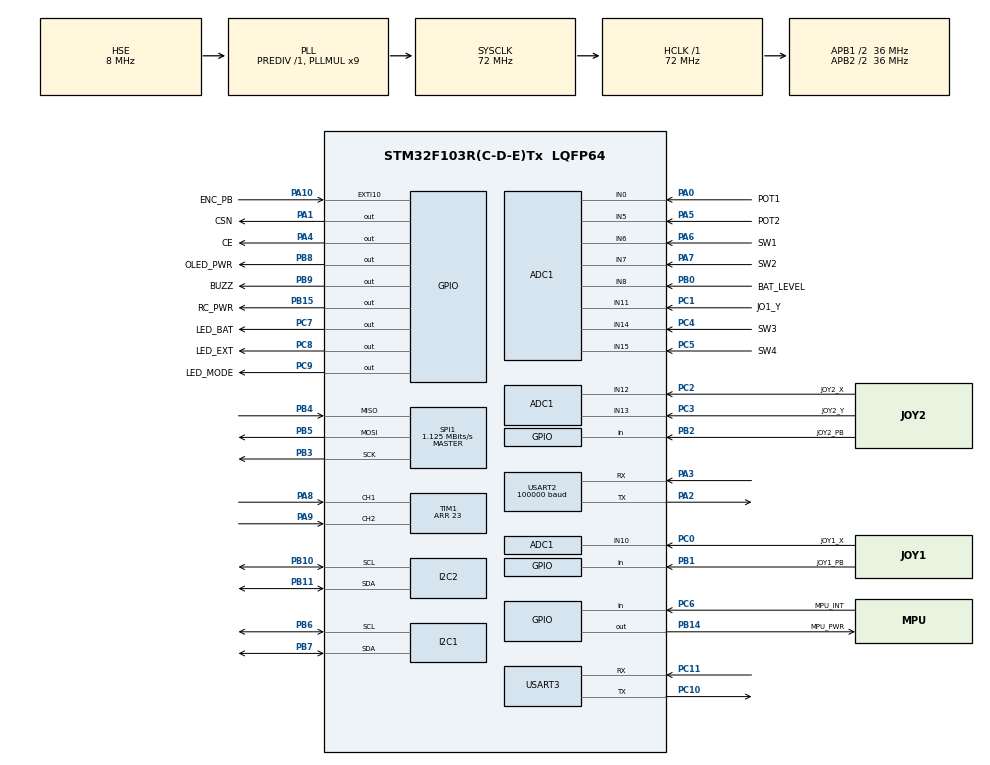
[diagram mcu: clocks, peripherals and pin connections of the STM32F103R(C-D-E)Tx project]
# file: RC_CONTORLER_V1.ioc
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ADC1.Channel-10\#ChannelRegularConversion=ADC_CHANNEL_13
ADC1.Channel-11\#ChannelRegularConversion=ADC_CHANNEL_14
ADC1.Channel-12\#ChannelRegularConversion=ADC_CHANNEL_15
ADC1.Channel-2\#ChannelRegularConversion=ADC_CHANNEL_0
ADC1.Channel-3\#ChannelRegularConversion=ADC_CHANNEL_5
ADC1.Channel-4\#ChannelRegularConversion=ADC_CHANNEL_6
ADC1.Channel-5\#ChannelRegularConversion=ADC_CHANNEL_7
ADC1.Channel-6\#ChannelRegularConversion=ADC_CHANNEL_8
ADC1.Channel-7\#ChannelRegularConversion=ADC_CHANNEL_10
ADC1.Channel-8\#ChannelRegularConversion=ADC_CHANNEL_11
ADC1.Channel-9\#ChannelRegularConversion=ADC_CHANNEL_12
ADC1.ContinuousConvMode=ENABLE
ADC1.NbrOfConversion=11
ADC1.NbrOfConversionFlag=1
ADC1.Rank-10\#ChannelRegularConversion=9
ADC1.Rank-11\#ChannelRegularConversion=10
ADC1.Rank-12\#ChannelRegularConversion=11
ADC1.Rank-2\#ChannelRegularConversion=1
ADC1.Rank-3\#ChannelRegularConversion=2
ADC1.Rank-4\#ChannelRegularConversion=3
ADC1.Rank-5\#ChannelRegularConversion=4
ADC1.Rank-6\#ChannelRegularConversion=5
ADC1.Rank-7\#ChannelRegularConversion=6
ADC1.Rank-8\#ChannelRegularConversion=7
ADC1.Rank-9\#ChannelRegularConversion=8
ADC1.SamplingTime-10\#ChannelRegularConversion=ADC_SAMPLETIME_239CYCLES_5
ADC1.SamplingTime-11\#ChannelRegularConversion=ADC_SAMPLETIME_239CYCLES_5
ADC1.SamplingTime-12\#ChannelRegularConversion=ADC_SAMPLETIME_239CYCLES_5
ADC1.SamplingTime-2\#ChannelRegularConversion=ADC_SAMPLETIME_239CYCLES_5
ADC1.SamplingTime-3\#ChannelRegularConversion=ADC_SAMPLETIME_239CYCLES_5
ADC1.SamplingTime-4\#ChannelRegularConversion=ADC_SAMPLETIME_239CYCLES_5
ADC1.SamplingTime-5\#ChannelRegularConversion=ADC_SAMPLETIME_239CYCLES_5
ADC1.SamplingTime-6\#ChannelRegularConversion=ADC_SAMPLETIME_239CYCLES_5
ADC1.SamplingTime-7\#ChannelRegularConversion=ADC_SAMPLETIME_239CYCLES_5
ADC1.SamplingTime-8\#ChannelRegularConversion=ADC_SAMPLETIME_239CYCLES_5
ADC1.SamplingTime-9\#ChannelRegularConversion=ADC_SAMPLETIME_239CYCLES_5
ADC1.master=1
Dma.ADC1.0.Direction=DMA_PERIPH_TO_MEMORY
Dma.ADC1.0.Instance=DMA1_Channel1
Dma.ADC1.0.MemDataAlignment=DMA_MDATAALIGN_HALFWORD
Dma.ADC1.0.MemInc=DMA_MINC_ENABLE
Dma.ADC1.0.Mode=DMA_CIRCULAR
Dma.ADC1.0.PeriphDataAlignment=DMA_PDATAALIGN_HALFWORD
Dma.ADC1.0.PeriphInc=DMA_PINC_DISABLE
Dma.ADC1.0.Priority=DMA_PRIORITY_LOW
Dma.Request0=ADC1
I2C1.I2C_Mode=I2C_Fast
I2C2.I2C_Mode=I2C_Fast
Mcu.Family=STM32F1
Mcu.Name=STM32F103R(C-D-E)Tx
Mcu.Package=LQFP64
NVIC.DMA1_Channel1_IRQn=true\:0\:0\:false\:false\:true\:false\:true
NVIC.EXTI15_10_IRQn=true\:0\:0\:false\:false\:true\:true\:true
NVIC.PriorityGroup=NVIC_PRIORITYGROUP_4
NVIC.TIM6_IRQn=true\:0\:0\:false\:false\:true\:true\:true
PA0-WKUP.GPIO_Label=POT1
PA0-WKUP.Signal=ADCx_IN0
PA1.GPIO_Label=CSN
PA1.Signal=GPIO_Output
PA10.GPIO_Label=ENC_PB
PA10.Signal=GPXTI10
PA13.Mode=Serial_Wire
PA13.Signal=SYS_JTMS-SWDIO
PA14.Mode=Serial_Wire
PA14.Signal=SYS_JTCK-SWCLK
PA2.Mode=Asynchronous
PA2.Signal=USART2_TX
PA3.Mode=Asynchronous
PA3.Signal=USART2_RX
PA4.GPIO_Label=CE
PA4.Signal=GPIO_Output
PA5.GPIO_Label=POT2
PA5.Signal=ADCx_IN5
PA6.GPIO_Label=SW1
PA6.Signal=ADCx_IN6
PA7.GPIO_Label=SW2
PA7.Signal=ADCx_IN7
PA8.GPIO_PuPd=GPIO_PULLUP
PA8.Signal=S_TIM1_CH1
PA9.GPIO_PuPd=GPIO_PULLUP
PA9.Signal=S_TIM1_CH2
PB0.GPIO_Label=BAT_LEVEL
PB0.Signal=ADCx_IN8
PB1.GPIO_Label=JOY1_PB
PB1.Signal=GPIO_Input
PB10.Mode=I2C
PB10.Signal=I2C2_SCL
PB11.Mode=I2C
PB11.Signal=I2C2_SDA
PB14.GPIO_Label=MPU_PWR
PB14.Signal=GPIO_Output
PB15.GPIO_Label=RC_PWR
PB15.Signal=GPIO_Output
PB2.GPIO_Label=JOY2_PB
PB2.Signal=GPIO_Input
PB3.Mode=Full_Duplex_Master
PB3.Signal=SPI1_SCK
PB4.Mode=Full_Duplex_Master
PB4.Signal=SPI1_MISO
PB5.Mode=Full_Duplex_Master
PB5.Signal=SPI1_MOSI
PB6.Mode=I2C
PB6.Signal=I2C1_SCL
PB7.Mode=I2C
PB7.Signal=I2C1_SDA
PB8.GPIO_Label=OLED_PWR
PB8.GPIO_PuPd=GPIO_NOPULL
PB8.Signal=GPIO_Output
PB9.GPIO_Label=BUZZ
PB9.Signal=GPIO_Output
PC0.GPIO_Label=JOY1_X
PC0.Signal=ADCx_IN10
PC1.GPIO_Label=JO1_Y
PC1.Signal=ADCx_IN11
PC10.Mode=Asynchronous
PC10.Signal=USART3_TX
PC11.Mode=Asynchronous
PC11.Signal=USART3_RX
PC2.GPIO_Label=JOY2_X
PC2.Signal=ADCx_IN12
PC3.GPIO_Label=JOY2_Y
PC3.Signal=ADCx_IN13
PC4.GPIO_Label=SW3
PC4.Signal=ADCx_IN14
PC5.GPIO_Label=SW4
PC5.Signal=ADCx_IN15
PC6.GPIO_Label=MPU_INT
PC6.Signal=GPIO_Input
PC7.GPIO_Label=LED_BAT
PC7.Signal=GPIO_Output
PC8.GPIO_Label=LED_EXT
PC8.Signal=GPIO_Output
PC9.GPIO_Label=LED_MODE
PC9.Signal=GPIO_Output
PD0-OSC_IN.Mode=HSE-External-Oscillator
PD0-OSC_IN.Signal=RCC_OSC_IN
PD1-OSC_OUT.Mode=HSE-External-Oscillator
PD1-OSC_OUT.Signal=RCC_OSC_OUT
ProjectManager.HeapSize=0x200
ProjectManager.StackSize=0x400
ProjectManager.TargetToolchain=TrueSTUDIO
RCC.ADCPresc=RCC_ADCPCLK2_DIV6
RCC.AHBFreq_Value=72000000
RCC.APB1CLKDivider=RCC_HCLK_DIV2
RCC.APB1Freq_Value=36000000
RCC.APB1TimFreq_Value=72000000
RCC.APB2CLKDivider=RCC_HCLK_DIV2
RCC.APB2Freq_Value=36000000
RCC.APB2TimFreq_Value=72000000
RCC.HCLKFreq_Value=72000000
RCC.PLLMUL=RCC_PLL_MUL9
RCC.PLLSourceVirtual=RCC_PLLSOURCE_HSE
RCC.SYSCLKFreq_VALUE=72000000
RCC.SYSCLKSource=RCC_SYSCLKSOURCE_PLLCLK
RCC.USBFreq_Value=72000000
SH.ADCx_IN0.0=ADC1_IN0,IN0
SH.ADCx_IN10.0=ADC1_IN10,IN10
SH.ADCx_IN11.0=ADC1_IN11,IN11
SH.ADCx_IN12.0=ADC1_IN12,IN12
SH.ADCx_IN13.0=ADC1_IN13,IN13
SH.ADCx_IN14.0=ADC1_IN14,IN14
SH.ADCx_IN15.0=ADC1_IN15,IN15
SH.ADCx_IN5.0=ADC1_IN5,IN5
SH.ADCx_IN6.0=ADC1_IN6,IN6
SH.ADCx_IN7.0=ADC1_IN7,IN7
SH.ADCx_IN8.0=ADC1_IN8,IN8
SH.S_TIM1_CH1.0=TIM1_CH1,Encoder_Interface
SH.S_TIM1_CH2.0=TIM1_CH2,Encoder_Interface
SPI1.BaudRatePrescaler=SPI_BAUDRATEPRESCALER_32
SPI1.CalculateBaudRate=1.125 MBits/s
SPI1.Direction=SPI_DIRECTION_2LINES
SPI1.FirstBit=SPI_FIRSTBIT_MSB
SPI1.Mode=SPI_MODE_MASTER
SPI1.VirtualType=VM_MASTER
TIM1.EncoderMode=TIM_ENCODERMODE_TI12
TIM1.IC1Filter=15
TIM1.IC2Filter=15
TIM1.Period=23
TIM6.Period=999
TIM6.Prescaler=73
USART2.BaudRate=100000
USART2.Parity=PARITY_EVEN
USART2.StopBits=STOPBITS_2
USART2.VirtualMode=VM_ASYNC
USART2.WordLength=WORDLENGTH_9B
USART3.VirtualMode=VM_ASYNC
VP_ADC1_TempSens_Input.Mode=IN-TempSens
VP_TIM6_VS_ClockSourceINT.Mode=Enable_Timer
board=custom

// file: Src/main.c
/* USER CODE BEGIN Header */
/**
 ******************************************************************************
 * @file           : main.c
 * @brief          : Main program body
 ******************************************************************************
 * @attention
 *
 * <h2><center>&copy; Copyright (c) 2020 STMicroelectronics.
 * All rights reserved.</center></h2>
 *
 * This software component is licensed by ST under BSD 3-Clause license,
 * the "License"; You may not use this file except in compliance with the
 * License. You may obtain a copy of the License at:
 *                        opensource.org/licenses/BSD-3-Clause
 *
 ******************************************************************************
 */
//HARDWARE TESTING
// TO DO:
// -Test string through OLED  - DONE
// -Test ADC valeus from DMA channels:
// 	 -Joystick's
//	 -Potentiometers
//	 -Switches
// -Test NRF24L01 connection DONE
// -Test MPU6050 CONECTION DONE
// -Test ENCODER processing INTERUPTS DONE
// -Test PUSH BUTTONS DONE
//
/* USER CODE END Header */
#include "main.h"

/* USER CODE BEGIN Includes */

//Standard libaries
#include <stdio.h>

//Libraries for SSD1306 OLED
#include "oled.h"

//Libraries for NRF24L01
#include "nrf.h"       // driver for NRF24L01+

//Libraries for MPU6050
#include "hal_mpu6050.h"
//Libraries for main RC_Contorler activies
#include "rc_controler.h"

#include "buttonProcess.h"

#include "eeporm_store.h"
/* USER CODE END Includes */

#include "binding.h"

/* USER CODE BEGIN PTD */

typedef struct {
	uint16_t interval; /* How often to call the task */
	void (*proc)(void); /* pointer to function returning void */
} timed_task_t;

/* USER CODE END PTD */

/* USER CODE BEGIN PM */
//# define SIZE(x) sizeof(x)/sizeof(x[0])
/* USER CODE END PM */

ADC_HandleTypeDef hadc1;
DMA_HandleTypeDef hdma_adc1;

I2C_HandleTypeDef hi2c1;
I2C_HandleTypeDef hi2c2;

SPI_HandleTypeDef hspi1;

TIM_HandleTypeDef htim1;
TIM_HandleTypeDef htim6;

UART_HandleTypeDef huart2;
UART_HandleTypeDef huart3;

/* USER CODE BEGIN PV */

//MPU6050 struct
MPU6050 imu;
//MPU global variables

//TO DO -> into struct
uint8_t dataReady = 0;
float ax = 0, ay = 0, az = 0, gx = 0, gy = 0, gz = 0;
MPU6050_Result mpu_result;

char myTxData[32] = "Hello World!";
uint16_t txValues[16];
char AckPayload[32];

extern RC_Channels rc_channels;
extern RC_Controler_Status rc_status;

uint8_t enc_rotation = 0;
uint8_t enc_clicks = 0;

uint8_t chan_calib = 5;

//ADC _DMA _ VALUES
uint16_t adc_values[11];

uint32_t updateReady = 0;
uint32_t tick = 0;

//for task scheduler purposes
volatile uint8_t tick_ms = 0;

/* USER CODE END PV */

void SystemClock_Config(void);
static void MX_GPIO_Init(void);
static void MX_DMA_Init(void);
static void MX_ADC1_Init(void);
static void MX_I2C1_Init(void);
static void MX_I2C2_Init(void);
static void MX_SPI1_Init(void);
static void MX_TIM6_Init(void);
static void MX_USART2_UART_Init(void);
static void MX_USART3_UART_Init(void);
static void MX_TIM1_Init(void);
/* USER CODE BEGIN PFP */

void IdleLoop();   // Function  to show that app is running

//MAIN TASKS
void radioTransmit();
void updateRcChannels();
void updateScreen();
void process_events();
/* USER CODE END PFP */

/* USER CODE BEGIN 0 */

//const uint16_t EEPROM_ADDRESS = 0xA0;
uint8_t data_to_write = 50;
uint8_t data_to_read[15];

//enum intervals {
//	INTERVAL_35_MSEC = 35,
//	INTERVAL_50_MSEC = 50,
//	INTERVAL_500_MSEC = 500,
//	INTERVAL_10_MSEC = 10,
//	INTERVAL_4_MSEC = 4,
//	INTERVAL_5_MSEC = 5,
//	INTERVAL_3_MSEC = 3,
//};

static const timed_task_t timed_task[] =
		{
				{ 5, radioTransmit },
				{ 3, updateRcChannels },
				{ 35, updateScreen },
				{ 5, process_buttons },
				{ 7, process_events },

				//... here more task can be added
				{ 0, NULL } };

/* USER CODE END 0 */

int main(void)
{

	/* MCU Configuration--------------------------------------------------------*/

	/* Reset of all peripherals, Initializes the Flash interface and the Systick. */
	HAL_Init();

	/* Configure the system clock */
	SystemClock_Config();

	/* Initialize all configured peripherals */
	MX_GPIO_Init();
	MX_DMA_Init();
	MX_ADC1_Init();
	MX_I2C1_Init();
	MX_I2C2_Init();
	MX_SPI1_Init();
	MX_TIM6_Init();
	MX_USART2_UART_Init();
	MX_USART3_UART_Init();
	MX_TIM1_Init();
	/* USER CODE BEGIN 2 */

	//Conected devices initializations
	//TO_DO - wrap all init into one init function
	oledInit();
	oledPrintInitScreen();
	// NRF24L01
	initNRF24andPrintStatus();

//	HAL_GPIO_WritePin(MPU_PWR_GPIO_Port, MPU_PWR_Pin, SET); //wlacz zasilanie do MPU
//	HAL_Delay(10);
//
//	rc_status.mpu_init_succes = MPU6050_Init(&hi2c2, &imu, MPU6050_Device_0,
//			MPU6050_Accelerometer_2G,
//			MPU6050_Gyroscope_250s);
//	HAL_Delay(10);
//
//	// TO DO - check why MPU not always starts
//	if (mpu_result == MPU6050_Result_Ok)
//	{
//		//HAL_GPIO_WritePin(LED_BAT_GPIO_Port,LED_BAT_Pin,SET);
//		printf("MPU6050  initialization SUCCESS!\n");
//
//	} else
//	{
//		printf("MPU6050 initialization FAIL!\n");
//	}
    //MPU6050
	init_mpu6050();
	//RC_CHANNELS_INIT  -  TO_D0
	update_rc_mode(RC_SIMPLE_JOYSTICK);

	//TO_DO - wrap all specific functions into hardware specific inits

	//DMA start for ADC
	HAL_ADC_Start_DMA(&hadc1, (uint32_t*) adc_values, 11);
	//TIM6 start in interrupt mode
	HAL_TIM_Base_Start_IT(&htim6);
	//TIM1 start as encoder
	HAL_TIM_Encoder_Start(&htim1, TIM_CHANNEL_ALL);

	read_initial_store();

//	calibrate_channel(5, 2000);
//	calibrate_channel(6, 2000);
//	calibrate_channel(7, 2000);
//	calibrate_channel(8, 2000);

//	update_eeporm_store();
	const timed_task_t *pointer_to_task;
	volatile uint16_t main_tick = 0;

	/* USER CODE END 2 */

	/* Infinite loop */
	while (1)
	{

		/* USER CODE BEGIN 3 */

		if (tick_ms && rc_status.mode == NORMAL_MODE)
		{
			tick_ms--;

			main_tick++;

			for (pointer_to_task = timed_task; pointer_to_task->interval != 0; pointer_to_task++)
			{
				if (!(main_tick % pointer_to_task->interval))
				{
					/* Time to call the function */
					(pointer_to_task->proc)();
				}
			}
			if (main_tick > 1000)
			{
				main_tick = 1;

			}

		}

		else if (rc_status.mode == BIND_MODE)
		{
			oledPrintBindScren();
			HAL_GPIO_WritePin(LED_BAT_GPIO_Port, LED_BAT_Pin, SET);
			bind_event_controler();

		}
	}
	/* USER CODE END 3 */
}

void SystemClock_Config(void)
{
	RCC_OscInitTypeDef RCC_OscInitStruct =
			{ 0 };
	RCC_ClkInitTypeDef RCC_ClkInitStruct =
			{ 0 };
	RCC_PeriphCLKInitTypeDef PeriphClkInit =
			{ 0 };

	/** Initializes the RCC Oscillators according to the specified parameters
	 * in the RCC_OscInitTypeDef structure.
	 */
	RCC_OscInitStruct.OscillatorType = RCC_OSCILLATORTYPE_HSE;
	RCC_OscInitStruct.HSEState = RCC_HSE_ON;
	RCC_OscInitStruct.HSEPredivValue = RCC_HSE_PREDIV_DIV1;
	RCC_OscInitStruct.HSIState = RCC_HSI_ON;
	RCC_OscInitStruct.PLL.PLLState = RCC_PLL_ON;
	RCC_OscInitStruct.PLL.PLLSource = RCC_PLLSOURCE_HSE;
	RCC_OscInitStruct.PLL.PLLMUL = RCC_PLL_MUL9;
	if (HAL_RCC_OscConfig(&RCC_OscInitStruct) != HAL_OK)
	{
		Error_Handler();
	}
	/** Initializes the CPU, AHB and APB buses clocks
	 */
	RCC_ClkInitStruct.ClockType = RCC_CLOCKTYPE_HCLK | RCC_CLOCKTYPE_SYSCLK
			| RCC_CLOCKTYPE_PCLK1 | RCC_CLOCKTYPE_PCLK2;
	RCC_ClkInitStruct.SYSCLKSource = RCC_SYSCLKSOURCE_PLLCLK;
	RCC_ClkInitStruct.AHBCLKDivider = RCC_SYSCLK_DIV1;
	RCC_ClkInitStruct.APB1CLKDivider = RCC_HCLK_DIV2;
	RCC_ClkInitStruct.APB2CLKDivider = RCC_HCLK_DIV2;

	if (HAL_RCC_ClockConfig(&RCC_ClkInitStruct, FLASH_LATENCY_2) != HAL_OK)
	{
		Error_Handler();
	}
	PeriphClkInit.PeriphClockSelection = RCC_PERIPHCLK_ADC;
	PeriphClkInit.AdcClockSelection = RCC_ADCPCLK2_DIV6;
	if (HAL_RCCEx_PeriphCLKConfig(&PeriphClkInit) != HAL_OK)
	{
		Error_Handler();
	}
}

static void MX_ADC1_Init(void)
{

	ADC_ChannelConfTypeDef sConfig =
			{ 0 };

	/** Common config
	 */
	hadc1.Instance = ADC1;
	hadc1.Init.ScanConvMode = ADC_SCAN_ENABLE;
	hadc1.Init.ContinuousConvMode = ENABLE;
	hadc1.Init.DiscontinuousConvMode = DISABLE;
	hadc1.Init.ExternalTrigConv = ADC_SOFTWARE_START;
	hadc1.Init.DataAlign = ADC_DATAALIGN_RIGHT;
	hadc1.Init.NbrOfConversion = 11;
	if (HAL_ADC_Init(&hadc1) != HAL_OK)
	{
		Error_Handler();
	}
	/** Configure Regular Channel
	 */
	sConfig.Channel = ADC_CHANNEL_0;
	sConfig.Rank = ADC_REGULAR_RANK_1;
	sConfig.SamplingTime = ADC_SAMPLETIME_239CYCLES_5;
	if (HAL_ADC_ConfigChannel(&hadc1, &sConfig) != HAL_OK)
	{
		Error_Handler();
	}
	/** Configure Regular Channel
	 */
	sConfig.Channel = ADC_CHANNEL_5;
	sConfig.Rank = ADC_REGULAR_RANK_2;
	if (HAL_ADC_ConfigChannel(&hadc1, &sConfig) != HAL_OK)
	{
		Error_Handler();
	}
	/** Configure Regular Channel
	 */
	sConfig.Channel = ADC_CHANNEL_6;
	sConfig.Rank = ADC_REGULAR_RANK_3;
	if (HAL_ADC_ConfigChannel(&hadc1, &sConfig) != HAL_OK)
	{
		Error_Handler();
	}
	/** Configure Regular Channel
	 */
	sConfig.Channel = ADC_CHANNEL_7;
	sConfig.Rank = ADC_REGULAR_RANK_4;
	if (HAL_ADC_ConfigChannel(&hadc1, &sConfig) != HAL_OK)
	{
		Error_Handler();
	}
	/** Configure Regular Channel
	 */
	sConfig.Channel = ADC_CHANNEL_8;
	sConfig.Rank = ADC_REGULAR_RANK_5;
	if (HAL_ADC_ConfigChannel(&hadc1, &sConfig) != HAL_OK)
	{
		Error_Handler();
	}
	/** Configure Regular Channel
	 */
	sConfig.Channel = ADC_CHANNEL_10;
	sConfig.Rank = ADC_REGULAR_RANK_6;
	if (HAL_ADC_ConfigChannel(&hadc1, &sConfig) != HAL_OK)
	{
		Error_Handler();
	}
	/** Configure Regular Channel
	 */
	sConfig.Channel = ADC_CHANNEL_11;
	sConfig.Rank = ADC_REGULAR_RANK_7;
	if (HAL_ADC_ConfigChannel(&hadc1, &sConfig) != HAL_OK)
	{
		Error_Handler();
	}
	/** Configure Regular Channel
	 */
	sConfig.Channel = ADC_CHANNEL_12;
	sConfig.Rank = ADC_REGULAR_RANK_8;
	if (HAL_ADC_ConfigChannel(&hadc1, &sConfig) != HAL_OK)
	{
		Error_Handler();
	}
	/** Configure Regular Channel
	 */
	sConfig.Channel = ADC_CHANNEL_13;
	sConfig.Rank = ADC_REGULAR_RANK_9;
	if (HAL_ADC_ConfigChannel(&hadc1, &sConfig) != HAL_OK)
	{
		Error_Handler();
	}
	/** Configure Regular Channel
	 */
	sConfig.Channel = ADC_CHANNEL_14;
	sConfig.Rank = ADC_REGULAR_RANK_10;
	if (HAL_ADC_ConfigChannel(&hadc1, &sConfig) != HAL_OK)
	{
		Error_Handler();
	}
	/** Configure Regular Channel
	 */
	sConfig.Channel = ADC_CHANNEL_15;
	sConfig.Rank = ADC_REGULAR_RANK_11;
	if (HAL_ADC_ConfigChannel(&hadc1, &sConfig) != HAL_OK)
	{
		Error_Handler();
	}

}

static void MX_I2C1_Init(void)
{

	hi2c1.Instance = I2C1;
	hi2c1.Init.ClockSpeed = 400000;
	hi2c1.Init.DutyCycle = I2C_DUTYCYCLE_2;
	hi2c1.Init.OwnAddress1 = 0;
	hi2c1.Init.AddressingMode = I2C_ADDRESSINGMODE_7BIT;
	hi2c1.Init.DualAddressMode = I2C_DUALADDRESS_DISABLE;
	hi2c1.Init.OwnAddress2 = 0;
	hi2c1.Init.GeneralCallMode = I2C_GENERALCALL_DISABLE;
	hi2c1.Init.NoStretchMode = I2C_NOSTRETCH_DISABLE;
	if (HAL_I2C_Init(&hi2c1) != HAL_OK)
	{
		Error_Handler();
	}

}

static void MX_I2C2_Init(void)
{

	hi2c2.Instance = I2C2;
	hi2c2.Init.ClockSpeed = 400000;
	hi2c2.Init.DutyCycle = I2C_DUTYCYCLE_2;
	hi2c2.Init.OwnAddress1 = 0;
	hi2c2.Init.AddressingMode = I2C_ADDRESSINGMODE_7BIT;
	hi2c2.Init.DualAddressMode = I2C_DUALADDRESS_DISABLE;
	hi2c2.Init.OwnAddress2 = 0;
	hi2c2.Init.GeneralCallMode = I2C_GENERALCALL_DISABLE;
	hi2c2.Init.NoStretchMode = I2C_NOSTRETCH_DISABLE;
	if (HAL_I2C_Init(&hi2c2) != HAL_OK)
	{
		Error_Handler();
	}

}

static void MX_SPI1_Init(void)
{

	/* SPI1 parameter configuration*/
	hspi1.Instance = SPI1;
	hspi1.Init.Mode = SPI_MODE_MASTER;
	hspi1.Init.Direction = SPI_DIRECTION_2LINES;
	hspi1.Init.DataSize = SPI_DATASIZE_8BIT;
	hspi1.Init.CLKPolarity = SPI_POLARITY_LOW;
	hspi1.Init.CLKPhase = SPI_PHASE_1EDGE;
	hspi1.Init.NSS = SPI_NSS_SOFT;
	hspi1.Init.BaudRatePrescaler = SPI_BAUDRATEPRESCALER_32;
	hspi1.Init.FirstBit = SPI_FIRSTBIT_MSB;
	hspi1.Init.TIMode = SPI_TIMODE_DISABLE;
	hspi1.Init.CRCCalculation = SPI_CRCCALCULATION_DISABLE;
	hspi1.Init.CRCPolynomial = 10;
	if (HAL_SPI_Init(&hspi1) != HAL_OK)
	{
		Error_Handler();
	}

}

static void MX_TIM1_Init(void)
{

	TIM_Encoder_InitTypeDef sConfig =
			{ 0 };
	TIM_MasterConfigTypeDef sMasterConfig =
			{ 0 };

	htim1.Instance = TIM1;
	htim1.Init.Prescaler = 0;
	htim1.Init.CounterMode = TIM_COUNTERMODE_UP;
	htim1.Init.Period = 23;
	htim1.Init.ClockDivision = TIM_CLOCKDIVISION_DIV1;
	htim1.Init.RepetitionCounter = 0;
	htim1.Init.AutoReloadPreload = TIM_AUTORELOAD_PRELOAD_DISABLE;
	sConfig.EncoderMode = TIM_ENCODERMODE_TI12;
	sConfig.IC1Polarity = TIM_ICPOLARITY_RISING;
	sConfig.IC1Selection = TIM_ICSELECTION_DIRECTTI;
	sConfig.IC1Prescaler = TIM_ICPSC_DIV1;
	sConfig.IC1Filter = 15;
	sConfig.IC2Polarity = TIM_ICPOLARITY_RISING;
	sConfig.IC2Selection = TIM_ICSELECTION_DIRECTTI;
	sConfig.IC2Prescaler = TIM_ICPSC_DIV1;
	sConfig.IC2Filter = 15;
	if (HAL_TIM_Encoder_Init(&htim1, &sConfig) != HAL_OK)
	{
		Error_Handler();
	}
	sMasterConfig.MasterOutputTrigger = TIM_TRGO_RESET;
	sMasterConfig.MasterSlaveMode = TIM_MASTERSLAVEMODE_DISABLE;
	if (HAL_TIMEx_MasterConfigSynchronization(&htim1, &sMasterConfig) != HAL_OK)
	{
		Error_Handler();
	}

}

static void MX_TIM6_Init(void)
{

	TIM_MasterConfigTypeDef sMasterConfig =
			{ 0 };

	htim6.Instance = TIM6;
	htim6.Init.Prescaler = 73;
	htim6.Init.CounterMode = TIM_COUNTERMODE_UP;
	htim6.Init.Period = 999;
	htim6.Init.AutoReloadPreload = TIM_AUTORELOAD_PRELOAD_DISABLE;
	if (HAL_TIM_Base_Init(&htim6) != HAL_OK)
	{
		Error_Handler();
	}
	sMasterConfig.MasterOutputTrigger = TIM_TRGO_RESET;
	sMasterConfig.MasterSlaveMode = TIM_MASTERSLAVEMODE_DISABLE;
	if (HAL_TIMEx_MasterConfigSynchronization(&htim6, &sMasterConfig) != HAL_OK)
	{
		Error_Handler();
	}

}

static void MX_USART2_UART_Init(void)
{

	huart2.Instance = USART2;
	huart2.Init.BaudRate = 100000;
	huart2.Init.WordLength = UART_WORDLENGTH_9B;
	huart2.Init.StopBits = UART_STOPBITS_2;
	huart2.Init.Parity = UART_PARITY_EVEN;
	huart2.Init.Mode = UART_MODE_TX_RX;
	huart2.Init.HwFlowCtl = UART_HWCONTROL_NONE;
	huart2.Init.OverSampling = UART_OVERSAMPLING_16;
	if (HAL_UART_Init(&huart2) != HAL_OK)
	{
		Error_Handler();
	}

}

static void MX_USART3_UART_Init(void)
{

	huart3.Instance = USART3;
	huart3.Init.BaudRate = 100000;
	huart3.Init.WordLength = UART_WORDLENGTH_9B;
	huart3.Init.StopBits = UART_STOPBITS_2;
	huart3.Init.Parity = UART_PARITY_EVEN;
	huart3.Init.Mode = UART_MODE_TX_RX;
	huart3.Init.HwFlowCtl = UART_HWCONTROL_NONE;
	huart3.Init.OverSampling = UART_OVERSAMPLING_16;
	if (HAL_UART_Init(&huart3) != HAL_OK)
	{
		Error_Handler();
	}

}

static void MX_DMA_Init(void)
{

	/* DMA controller clock enable */
	__HAL_RCC_DMA1_CLK_ENABLE()
				;

	/* DMA interrupt init */
	/* DMA1_Channel1_IRQn interrupt configuration */
	HAL_NVIC_SetPriority(DMA1_Channel1_IRQn, 0, 0);
	HAL_NVIC_EnableIRQ(DMA1_Channel1_IRQn);

}

static void MX_GPIO_Init(void)
{
	GPIO_InitTypeDef GPIO_InitStruct =
			{ 0 };

	/* GPIO Ports Clock Enable */
	__HAL_RCC_GPIOD_CLK_ENABLE()
				;
	__HAL_RCC_GPIOC_CLK_ENABLE()
				;
	__HAL_RCC_GPIOA_CLK_ENABLE()
				;
	__HAL_RCC_GPIOB_CLK_ENABLE()
				;

	/*Configure GPIO pin Output Level */
	HAL_GPIO_WritePin(GPIOA, CSN_Pin | CE_Pin, GPIO_PIN_RESET);

	/*Configure GPIO pin Output Level */
	HAL_GPIO_WritePin(GPIOB, MPU_PWR_Pin | RC_PWR_Pin | OLED_PWR_Pin | BUZZ_Pin, GPIO_PIN_RESET);

	/*Configure GPIO pin Output Level */
	HAL_GPIO_WritePin(GPIOC, LED_BAT_Pin | LED_EXT_Pin | LED_MODE_Pin, GPIO_PIN_RESET);

	/*Configure GPIO pins : CSN_Pin CE_Pin */
	GPIO_InitStruct.Pin = CSN_Pin | CE_Pin;
	GPIO_InitStruct.Mode = GPIO_MODE_OUTPUT_PP;
	GPIO_InitStruct.Pull = GPIO_NOPULL;
	GPIO_InitStruct.Speed = GPIO_SPEED_FREQ_LOW;
	HAL_GPIO_Init(GPIOA, &GPIO_InitStruct);

	/*Configure GPIO pins : JOY1_PB_Pin JOY2_PB_Pin */
	GPIO_InitStruct.Pin = JOY1_PB_Pin | JOY2_PB_Pin;
	GPIO_InitStruct.Mode = GPIO_MODE_INPUT;
	GPIO_InitStruct.Pull = GPIO_NOPULL;
	HAL_GPIO_Init(GPIOB, &GPIO_InitStruct);

	/*Configure GPIO pins : MPU_PWR_Pin RC_PWR_Pin OLED_PWR_Pin BUZZ_Pin */
	GPIO_InitStruct.Pin = MPU_PWR_Pin | RC_PWR_Pin | OLED_PWR_Pin | BUZZ_Pin;
	GPIO_InitStruct.Mode = GPIO_MODE_OUTPUT_PP;
	GPIO_InitStruct.Pull = GPIO_NOPULL;
	GPIO_InitStruct.Speed = GPIO_SPEED_FREQ_LOW;
	HAL_GPIO_Init(GPIOB, &GPIO_InitStruct);

	/*Configure GPIO pin : MPU_INT_Pin */
	GPIO_InitStruct.Pin = MPU_INT_Pin;
	GPIO_InitStruct.Mode = GPIO_MODE_INPUT;
	GPIO_InitStruct.Pull = GPIO_NOPULL;
	HAL_GPIO_Init(MPU_INT_GPIO_Port, &GPIO_InitStruct);

	/*Configure GPIO pins : LED_BAT_Pin LED_EXT_Pin LED_MODE_Pin */
	GPIO_InitStruct.Pin = LED_BAT_Pin | LED_EXT_Pin | LED_MODE_Pin;
	GPIO_InitStruct.Mode = GPIO_MODE_OUTPUT_PP;
	GPIO_InitStruct.Pull = GPIO_NOPULL;
	GPIO_InitStruct.Speed = GPIO_SPEED_FREQ_LOW;
	HAL_GPIO_Init(GPIOC, &GPIO_InitStruct);

	/*Configure GPIO pin : ENC_PB_Pin */
	GPIO_InitStruct.Pin = ENC_PB_Pin;
	GPIO_InitStruct.Mode = GPIO_MODE_IT_RISING;
	GPIO_InitStruct.Pull = GPIO_NOPULL;
	HAL_GPIO_Init(ENC_PB_GPIO_Port, &GPIO_InitStruct);

	/* EXTI interrupt init*/
	HAL_NVIC_SetPriority(EXTI15_10_IRQn, 0, 0);
	HAL_NVIC_EnableIRQ(EXTI15_10_IRQn);

}

/* USER CODE BEGIN 4 */

void IdleLoop() {
	HAL_Delay(100);
	HAL_GPIO_TogglePin(LED_BAT_GPIO_Port, LED_BAT_Pin);
	HAL_Delay(100);
	HAL_GPIO_TogglePin(LED_EXT_GPIO_Port, LED_EXT_Pin);
	HAL_Delay(100);
	HAL_GPIO_TogglePin(LED_MODE_GPIO_Port, LED_MODE_Pin);
}

int _write(int fd, char *str, int len) {
	HAL_UART_Transmit(&DEBUG_UART, (uint8_t *) str, len, 10);
	return len;
}

void process_events() {

	if (buttons_state[ENCODER].long_press)
	{
		printf("Entering binding mode \r\n");
		clear_buttons_event(ENCODER);

		rc_status.mode = BIND_MODE;

	}
//  printf("Tadadm \r\n");
}

void radioTransmit() {
	if (NRF24_write(txValues, 32))
	{

		memcpy(txValues, rc_channels.scaled_values, 22);
		HAL_GPIO_TogglePin(LED_BAT_GPIO_Port, LED_BAT_Pin);
		rc_status.frames_sent++;

	} else
	{
		printf("FAILED! \n");
	}

}

void updateRcChannels() {

	update_rc_channels(adc_values);

}
void updateScreen() {

	switch (enc_rotation) {
	case 0:
		oledPrintMainScreen(&rc_status);
		break;

	case 1:
		oledDrawValueBars(rc_channels.low_pass_values[0], rc_channels.low_pass_values[1],
				rc_channels.low_pass_values[2], rc_channels.low_pass_values[3], 1);

		break;

	case 2:
		oledDrawValueBars(rc_channels.scaled_values[4], rc_channels.scaled_values[5],
				rc_channels.scaled_values[6], rc_channels.scaled_values[7], 5);
		break;
	case 3:
		oledPrintCalibMenu(2, 2);
		break;
	case 4:
		oledPrintEncValues(enc_rotation, enc_clicks);
		break;
	default:
		oledPrintEncValues(enc_rotation, enc_clicks);
		break;
		// default statements
	}

}

/// HAL CALLBACK OVERRIDE
void HAL_TIM_PeriodElapsedCallback(TIM_HandleTypeDef *htim) {
	static uint8_t mig = 10;
	tick_ms = 1;

	mig--;
	if (!mig)
	{
		mig = 10;
		enc_rotation = TIM1->CNT / 4;
	}

}

void HAL_GPIO_EXTI_Callback(uint16_t GPIO_Pin) {

	if (GPIO_Pin == ENC_PB_Pin)
	{
		HAL_GPIO_TogglePin(LED_MODE_GPIO_Port, LED_MODE_Pin);

		enc_clicks++;
		if (enc_clicks > 3)
		{

			enc_clicks = 0;

		}

	}

}

/* USER CODE END 4 */

void Error_Handler(void)
{
}

/************************ (C) COPYRIGHT STMicroelectronics *****END OF FILE****/
